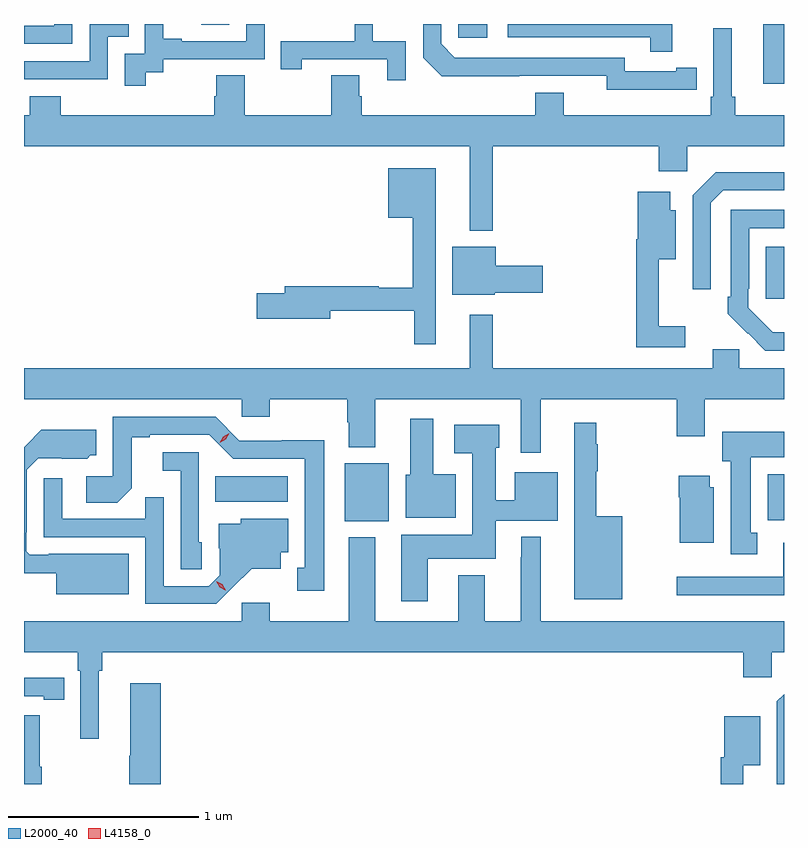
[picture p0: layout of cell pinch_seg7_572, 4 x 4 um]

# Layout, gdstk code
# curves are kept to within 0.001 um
import gdstk
lib = gdstk.Library(unit=1e-6, precision=1e-09)
def R(c, l, rs):  # rectangles x0, y0, x1, y1
    for r in rs: c.add(gdstk.rectangle(r[:2], r[2:], *l))
def P(c, l, *ps):  # polygons
    for p in ps: c.add(gdstk.Polygon(p, *l))
L2000_40 = (2000, 40)
L4158_0 = (4158, 0)

pinch_seg7_572 = lib.new_cell('pinch_seg7_572')
R(pinch_seg7_572, L2000_40, [(183.782,1050.59,184.015,1050.895), (186.008,1050.596,186.094,1050.838), (183.1,1050.692,183.481,1050.826), (185.999,1051.761,186.094,1052.035), (185.984,1052.892,186.094,1053.207), (184.38,1053.135,184.531,1053.207), (183.027,1053.204,183.174,1053.207)])
P(pinch_seg7_572, L2000_40, [(185.528,1052.862),(185.636,1052.862),(185.636,1052.978),(185.528,1052.978),(185.528,1052.958),(185.256,1052.958),(185.256,1053.03),(184.362,1053.03),(184.29,1053.102),(184.29,1053.207),(184.194,1053.207),(184.194,1053.03),(184.292,1052.933),(185.16,1052.934),(185.16,1052.861)],
  [(182.535,1053.141),(182.645,1053.141),(182.645,1053.207),(182.439,1053.207),(182.439,1053.012),(182.094,1053.012),(182.094,1052.916),(182.535,1052.916)],
  [(182.734,1052.953),(182.826,1052.953),(182.826,1053.021),(183.36,1053.021),(183.36,1053.207),(183.264,1053.207),(183.264,1053.117),(182.923,1053.117),(182.923,1053.13),(182.828,1053.13),(182.828,1053.207),(182.73,1053.207),(182.73,1053.051),(182.625,1053.051),(182.625,1052.883),(182.734,1052.883)],
  [(182.349,1053.207),(182.253,1053.207),(182.253,1053.198),(182.094,1053.198),(182.094,1053.102),(182.349,1053.102)],
  [(185.507,1053.207),(184.641,1053.207),(184.641,1053.138),(185.389,1053.138),(185.389,1053.06),(185.507,1053.06)],
  [(184.104,1053.117),(183.93,1053.117),(183.93,1053.207),(183.834,1053.207),(183.834,1053.117),(183.445,1053.117),(183.445,1052.97),(183.556,1052.97),(183.556,1053.021),(184.007,1053.021),(184.007,1052.91),(184.104,1052.91)],
  [(184.561,1052.564),(185.435,1052.564),(185.435,1052.433),(185.586,1052.433),(185.586,1052.564),(186.094,1052.564),(186.094,1052.728),(185.837,1052.728),(185.837,1052.824),(185.818,1052.824),(185.818,1053.184),(185.721,1053.184),(185.721,1052.824),(185.708,1052.824),(185.708,1052.728),(184.936,1052.728),(184.936,1052.845),(184.784,1052.845),(184.784,1052.728),(183.872,1052.728),(183.872,1052.826),(183.859,1052.826),(183.859,1052.936),(183.712,1052.936),(183.712,1052.728),(183.255,1052.728),(183.255,1052.936),(183.107,1052.936),(183.107,1052.826),(183.095,1052.826),(183.095,1052.728),(182.288,1052.728),(182.288,1052.827),(182.123,1052.827),(182.123,1052.728),(182.094,1052.728),(182.094,1052.564),(184.439,1052.564),(184.439,1052.12),(184.561,1052.12)],
  [(184.261,1052.449),(184.01,1052.449),(184.01,1052.186),(184.14,1052.186),(184.14,1051.819),(183.961,1051.819),(183.961,1051.826),(183.467,1051.826),(183.467,1051.79),(183.318,1051.79),(183.318,1051.655),(183.706,1051.655),(183.706,1051.698),(184.147,1051.698),(184.147,1051.521),(184.261,1051.521)],
  [(185.709,1052.265),(185.775,1052.331),(186.094,1052.331),(186.094,1052.428),(185.734,1052.428),(185.613,1052.307),(185.613,1051.812),(185.709,1051.812)],
  [(185.575,1051.615),(185.435,1051.615),(185.435,1051.97),(185.524,1051.97),(185.524,1052.227),(185.494,1052.227),(185.494,1052.323),(185.324,1052.323),(185.324,1052.074),(185.317,1052.074),(185.317,1051.506),(185.575,1051.506)],
  [(186.094,1051.585),(186.036,1051.585),(185.907,1051.713),(185.907,1051.813),(185.91,1051.813),(185.91,1052.133),(186.094,1052.133),(186.094,1052.229),(185.814,1052.229),(185.814,1051.771),(185.799,1051.771),(185.799,1051.683),(185.996,1051.488),(186.094,1051.488)],
  [(184.572,1051.792),(184.825,1051.792),(184.825,1051.934),(184.576,1051.934),(184.576,1052.035),(184.349,1052.035),(184.349,1051.781),(184.572,1051.781)],
  [(182.094,1051.232),(183.24,1051.232),(183.24,1051.139),(183.387,1051.139),(183.387,1051.232),(183.796,1051.232),(183.796,1051.111),(183.803,1051.111),(183.803,1050.98),(183.943,1050.98),(183.943,1051.232),(184.709,1051.232),(184.709,1050.951),(184.813,1050.951),(184.813,1051.232),(185.53,1051.232),(185.53,1051.038),(185.677,1051.038),(185.677,1051.232),(186.094,1051.232),(186.094,1051.396),(185.859,1051.396),(185.859,1051.494),(185.72,1051.494),(185.72,1051.396),(184.561,1051.396),(184.561,1051.678),(184.439,1051.678),(184.439,1051.396),(182.094,1051.396)],
  [(183.673,1051.016),(183.45,1051.016),(183.45,1051.014),(183.228,1051.014),(183.102,1051.14),(182.562,1051.14),(182.562,1050.828),(182.421,1050.828),(182.421,1050.688),(182.585,1050.688),(182.661,1050.764),(182.661,1051.032),(182.755,1051.032),(182.755,1051.044),(183.069,1051.044),(183.195,1050.918),(183.572,1050.918),(183.572,1050.345),(183.533,1050.345),(183.533,1050.225),(183.673,1050.225)],
  [(184.366,1050.838),(184.249,1050.838),(184.249,1051.129),(184.127,1051.129),(184.127,1050.834),(184.103,1050.834),(184.103,1050.608),(184.366,1050.608)],
  [(185.242,1050.616),(185.105,1050.616),(185.105,1050.854),(185.113,1050.854),(185.113,1050.995),(185.105,1050.995),(185.105,1051.108),(184.991,1051.108),(184.991,1050.179),(185.242,1050.179)],
  [(184.219,1050.392),(184.576,1050.392),(184.576,1050.593),(184.903,1050.593),(184.903,1050.847),(184.676,1050.847),(184.676,1050.701),(184.576,1050.701),(184.576,1050.978),(184.594,1050.978),(184.594,1051.099),(184.359,1051.099),(184.359,1050.947),(184.454,1050.947),(184.454,1050.52),(184.079,1050.52),(184.079,1050.168),(184.219,1050.168)],
  [(182.644,1050.418),(182.224,1050.418),(182.224,1050.414),(182.124,1050.414),(182.106,1050.432),(182.106,1050.532),(182.109,1050.532),(182.109,1050.861),(182.169,1050.921),(182.426,1050.92),(182.442,1050.936),(182.473,1050.936),(182.473,1051.072),(182.185,1051.072),(182.094,1050.98),(182.094,1050.317),(182.264,1050.317),(182.264,1050.206),(182.644,1050.206)],
  [(185.953,1050.53),(185.92,1050.53),(185.92,1050.926),(186.094,1050.926),(186.094,1051.06),(185.768,1051.06),(185.768,1050.906),(185.813,1050.906),(185.813,1050.417),(185.953,1050.417)],
  [(183.03,1050.48),(183.015,1050.48),(183.015,1050.954),(182.823,1050.954),(182.823,1050.857),(182.919,1050.857),(182.919,1050.337),(183.03,1050.337)],
  [(185.725,1050.768),(185.704,1050.768),(185.704,1050.829),(185.539,1050.829),(185.539,1050.716),(185.546,1050.716),(185.546,1050.476),(185.725,1050.476)],
  [(183.19,1050.239),(183.293,1050.341),(183.445,1050.341),(183.445,1050.428),(183.484,1050.428),(183.484,1050.604),(183.234,1050.604),(183.234,1050.577),(183.119,1050.577),(183.119,1050.448),(183.123,1050.448),(183.123,1050.306),(183.066,1050.249),(182.829,1050.249),(182.829,1050.716),(182.731,1050.716),(182.731,1050.603),(182.295,1050.603),(182.295,1050.817),(182.199,1050.817),(182.199,1050.507),(182.733,1050.507),(182.733,1050.156),(183.106,1050.156)],
  [(182.488,1049.804),(182.507,1049.804),(182.507,1049.9),(185.879,1049.9),(185.879,1049.769),(186.03,1049.769),(186.03,1049.9),(186.094,1049.9),(186.094,1050.064),(184.813,1050.064),(184.813,1050.508),(184.711,1050.508),(184.711,1050.401),(184.709,1050.401),(184.709,1050.064),(184.519,1050.064),(184.519,1050.307),(184.379,1050.307),(184.379,1050.064),(183.943,1050.064),(183.943,1050.505),(183.803,1050.505),(183.803,1050.064),(183.387,1050.064),(183.387,1050.16),(183.24,1050.16),(183.24,1050.064),(182.094,1050.064),(182.094,1049.9),(182.378,1049.9),(182.378,1049.804),(182.391,1049.804),(182.391,1049.445),(182.488,1049.445)],
  [(186.094,1050.478),(186.089,1050.478),(186.089,1050.297),(185.529,1050.297),(185.529,1050.2),(186.094,1050.2)],
  [(182.306,1049.766),(182.198,1049.766),(182.198,1049.767),(182.094,1049.767),(182.094,1049.67),(182.198,1049.67),(182.198,1049.65),(182.306,1049.65)],
  [(182.813,1049.737),(182.654,1049.737),(182.654,1049.357),(182.647,1049.357),(182.647,1049.207),(182.813,1049.207)],
  [(186.094,1049.68),(186.057,1049.643),(186.057,1049.207),(186.094,1049.207)],
  [(182.188,1049.297),(182.177,1049.297),(182.177,1049.569),(182.094,1049.569),(182.094,1049.207),(182.188,1049.207)],
  [(185.879,1049.306),(185.968,1049.306),(185.968,1049.563),(185.78,1049.563),(185.78,1049.349),(185.761,1049.349),(185.761,1049.207),(185.879,1049.207)])
P(pinch_seg7_572, L4158_0, [(183.124,1051.002),(183.124,1051.002),(183.142,1051.035),(183.173,1051.054),(183.174,1051.054),(183.174,1051.054),(183.156,1051.021),(183.125,1051.002)],
  [(183.154,1050.228),(183.124,1050.243),(183.107,1050.273),(183.107,1050.273),(183.107,1050.273),(183.138,1050.258),(183.155,1050.228),(183.155,1050.228)])

lib.write_gds('pinch_seg7_572.gds')
